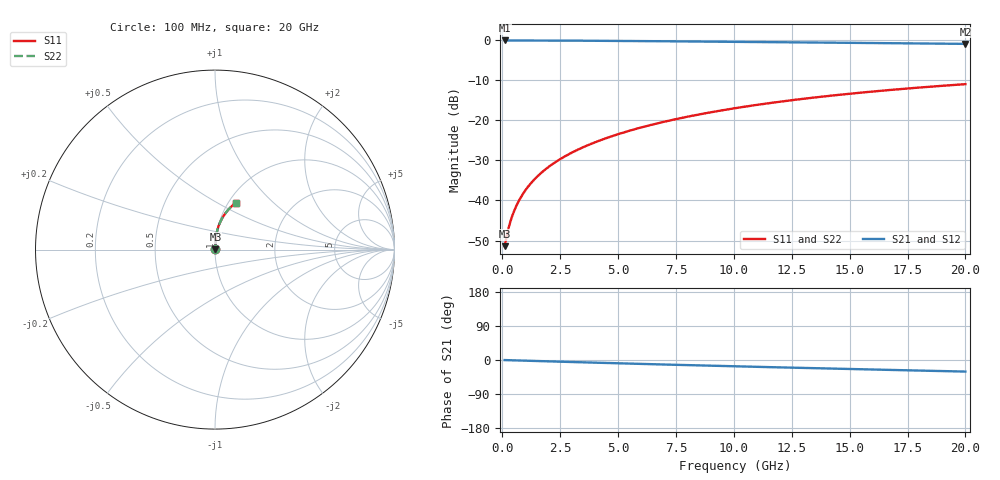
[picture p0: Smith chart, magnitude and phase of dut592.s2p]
! Touchstone file exported from HFSS 2024.1.0
!  File:  C:/UserFiles/LocalFiles/RDL_TSV_Batchsim/temp_RDL_top_592_1779682508.aedt
!  Generated:  12:17:20 PM May 25, 2026
!  Design:  RDL_top
!  Project:  temp_RDL_top_592_1779682508
!  Setup:  Setup1
!  Solution:  Sweep
! Variables:
!  dtsv = 10.80580581um
!  hbump = 3um
!  htsv = 93.26um
!  ldown = 100um
!  lrdl = 431.97um
!  p = 40
!  p1 = 45.01um
!  rhole = 1um
!  t = 450um
!  tdown = 3.915915916um
!  trdl = 3.49um
!  wdown = 15.38538539um
!  wrdl = 21.35um
# GHz S MA R 50.000000
! Terminal data exported
! Port[1] = Box2_T1
! Port[2] = Box2_T2
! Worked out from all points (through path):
!   200 points, 100 MHz to 20 GHz, reference 50 ohm
!   highest |S21| = -0.02 dB at 100 MHz (marker M1); lowest = -0.9 dB at 20 GHz (marker M2)
!   group delay of S21, straight-line fit = 4.21 ps
!   lowest |S11| = -51.4 dB at 100 MHz (marker M3), VSWR 1.01, Z = 50.2 + j0.146 ohm
!   |S11| at or under -10 dB: start of sweep to end of sweep
!   |S22| runs from -51.4 to -10.9 dB; largest |S21 - S12| = 3e-15
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0.1  0.002688 32.8  0.9977 -0.2  0.9977 -0.2  0.002688 32.8
! Gamma 0 0 0 0
! Port Impedance 50 0 50 0
0.2  0.003709 50.4  0.9976 -0.4  0.9976 -0.4  0.003709 50.4
0.3  0.004872 59.4  0.9975 -0.6  0.9975 -0.6  0.004872 59.4
0.4  0.006064 64.8  0.9973 -0.7  0.9973 -0.7  0.006064 64.9
0.5  0.007268 68.6  0.9972 -0.9  0.9972 -0.9  0.007268 68.6
0.6  0.008483 71.4  0.9971 -1.1  0.9971 -1.1  0.008482 71.4
0.8  0.01094 75.3  0.9968 -1.4  0.9968 -1.4  0.01094 75.3
1.1  0.0147 78.8  0.9965 -2.0  0.9965 -2.0  0.0147 78.8
1.3  0.01725 80.3  0.9962 -2.3  0.9962 -2.3  0.01725 80.3
1.6  0.0211 81.9  0.9957 -2.9  0.9957 -2.9  0.0211 81.9
2.1  0.02761 83.5  0.9946 -3.7  0.9946 -3.7  0.02761 83.6
2.7  0.03555 84.6  0.993 -4.8  0.993 -4.8  0.03555 84.6
3.5  0.04636 85.3  0.9905 -6.2  0.9905 -6.2  0.04637 85.3
4.2  0.05603 85.4  0.9878 -7.4  0.9878 -7.4  0.05604 85.5
5  0.06731 85.3  0.9845 -8.7  0.9845 -8.7  0.06732 85.3
6.8  0.09346 84.2  0.9759 -11.6  0.9759 -11.6  0.09348 84.2
8.4  0.1173 82.5  0.9677 -14.1  0.9677 -14.1  0.1174 82.6
10.1  0.143 80.4  0.9586 -16.7  0.9586 -16.7  0.143 80.5
11.7  0.167 78.3  0.95 -19.1  0.95 -19.1  0.1671 78.3
13.4  0.1922 75.8  0.9408 -21.5  0.9408 -21.5  0.1923 75.8
16.7  0.2395 71.0  0.9227 -26.1  0.9227 -26.1  0.2396 71.0
20  0.2839 66.2  0.9044 -30.6  0.9044 -30.6  0.284 66.2
